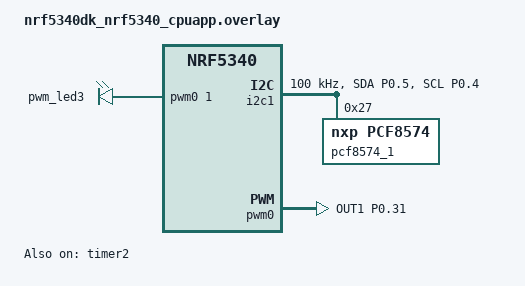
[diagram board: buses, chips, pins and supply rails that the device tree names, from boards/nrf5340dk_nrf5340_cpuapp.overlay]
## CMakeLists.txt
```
#
# Copyright (c) 2020 Nordic Semiconductor ASA
#
# SPDX-License-Identifier: LicenseRef-Nordic-5-Clause
#

cmake_minimum_required(VERSION 3.20.0)

find_package(Zephyr REQUIRED HINTS $ENV{ZEPHYR_BASE})

project("Zigbee generic custom cluster with lcd")

# NORDIC SDK APP START
target_sources(app PRIVATE
  src/main.c
  src/zb_zcl_custom_cluster.c
  src/lcd1602a.c

)

target_include_directories(app PRIVATE include)
# NORDIC SDK APP END
```

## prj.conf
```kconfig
#
# Copyright (c) 2020 Nordic Semiconductor ASA
#
# SPDX-License-Identifier: LicenseRef-Nordic-5-Clause
#

CONFIG_NCS_SAMPLES_DEFAULTS=y

CONFIG_UART_INTERRUPT_DRIVEN=y
CONFIG_SERIAL=y
CONFIG_GPIO=y
CONFIG_PWM=y

# Make sure printk is not printing to the UART console
CONFIG_CONSOLE=y
CONFIG_UART_CONSOLE=y

CONFIG_HEAP_MEM_POOL_SIZE=2048
CONFIG_MAIN_THREAD_PRIORITY=7

CONFIG_ZIGBEE=y
CONFIG_ZIGBEE_APP_UTILS=y
CONFIG_ZIGBEE_ROLE_ROUTER=y

CONFIG_PIPES=y

# Enable DK LED and Buttons library
CONFIG_DK_LIBRARY=y

# This example requires more workqueue stack
CONFIG_SYSTEM_WORKQUEUE_STACK_SIZE=2048

# Enable nRF ECB driver
CONFIG_CRYPTO=y
CONFIG_CRYPTO_NRF_ECB=y
CONFIG_CRYPTO_INIT_PRIORITY=80

# Networking
CONFIG_NET_IPV6=n
CONFIG_NET_IP_ADDR_CHECK=n
CONFIG_NET_UDP=n

# Scene extension
CONFIG_ZIGBEE_SCENES=y

CONFIG_ZIGBEE_CHANNEL=11
# CONFIG_ZIGBEE_CHANNEL=11
```

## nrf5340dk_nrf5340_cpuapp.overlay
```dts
&i2c1 {
	status = "okay";
	compatible = "nordic,nrf-twim";
	label = "I2C_1";
	pinctrl-0 = <&i2c1_default>;
	pinctrl-1 = <&i2c1_sleep>;
	pinctrl-names = "default", "sleep";
	clock-frequency = <100000>;
    pcf8574_1: pcf8574@27 {
                compatible = "nxp,pcf8574";
                reg = <0x27>;
        		ngpios = <8>;
        		#gpio-cells = <2>;
        		gpio-controller;
            };

};

&pinctrl {
	i2c1_default: i2c1_default{
		group1 {
			psels = <NRF_PSEL(TWIM_SDA, 0, 5)>,
				<NRF_PSEL(TWIM_SCL, 0, 4)>;
		};
	};

	i2c1_sleep: i2c1_sleep{
		group1 {
			psels = <NRF_PSEL(TWIM_SDA, 0, 5)>,
				<NRF_PSEL(TWIM_SCL, 0, 4)>;
			low-power-enable;
		};
	};

};
```

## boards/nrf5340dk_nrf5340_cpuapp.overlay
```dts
/*
 * Copyright (c) 2020-2022 Nordic Semiconductor ASA
 *
 * SPDX-License-Identifier: LicenseRef-Nordic-5-Clause
 */

/ {
	pwmleds {
		compatible = "pwm-leds";
		pwm_led3: pwm_led_3 {
			pwms = <&pwm0 1 PWM_MSEC(20) PWM_POLARITY_INVERTED>;
		};
	};

	chosen {
		ncs,zigbee-timer = &timer2;
	};
};

&i2c1 {
	status = "okay";
	compatible = "nordic,nrf-twim";
	label = "I2C_1";
	pinctrl-0 = <&i2c1_default>;
	pinctrl-1 = <&i2c1_sleep>;
	pinctrl-names = "default", "sleep";
	clock-frequency = <100000>;
    pcf8574_1: pcf8574@27 {
                compatible = "nxp,pcf8574";
                reg = <0x27>;
        		ngpios = <8>;
        		#gpio-cells = <2>;
        		gpio-controller;
            };

};


&pwm0 {
	pinctrl-0 = <&pwm0_default_alt>;
	pinctrl-1 = <&pwm0_sleep_alt>;
	pinctrl-names = "default", "sleep";
};

&pinctrl {
	pwm0_default_alt: pwm0_default_alt {
		group1 {
			psels = <NRF_PSEL(PWM_OUT1, 0, 31)>;
			nordic,invert;
		};
	};

	pwm0_sleep_alt: pwm0_sleep_alt {
		group1 {
			psels = <NRF_PSEL(PWM_OUT1, 0, 31)>;
			low-power-enable;
		};
	};

	i2c1_default: i2c1_default{
		group1 {
			psels = <NRF_PSEL(TWIM_SDA, 0, 5)>,
				<NRF_PSEL(TWIM_SCL, 0, 4)>;
		};
	};

	i2c1_sleep: i2c1_sleep{
		group1 {
			psels = <NRF_PSEL(TWIM_SDA, 0, 5)>,
				<NRF_PSEL(TWIM_SCL, 0, 4)>;
			low-power-enable;
		};
	};


};

&timer2 {
	status = "okay";
};
```

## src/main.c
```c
/*
 * Copyright (c) 2020 Nordic Semiconductor ASA
 *
 * SPDX-License-Identifier: LicenseRef-Nordic-5-Clause
 */

/** @file
 *
 * @brief Simple Zigbee light bulb implementation.
 */

#include <zephyr/types.h>
#include <zephyr/kernel.h>
#include <zephyr/device.h>
#include <soc.h>
#include <zephyr/drivers/pwm.h>
#include <zephyr/logging/log.h>
#include <dk_buttons_and_leds.h>
#include <zephyr/settings/settings.h>


#include <zboss_api.h>
#include <zboss_api_addons.h>
#include <zb_mem_config_med.h>
#include <zigbee/zigbee_app_utils.h>
#include <zigbee/zigbee_error_handler.h>
#include <zigbee/zigbee_zcl_scenes.h>
#include <zb_nrf_platform.h>
#include "zb_dimmable_light.h"
#include <zcl/zb_zcl_custom_cluster.h>

#include "lcd1602a.h"
#include <zephyr/drivers/i2c.h>




/* Memoria alienada a 4 bytes -> arch 32 bits. Capacidad buffer: 128 bytes*/
unsigned char __aligned(4) pipe_ring_buffer[128];
struct k_pipe ipc_pipe;

static void lcdTask(void *arg1, void *arg2, void *arg3);
K_THREAD_STACK_DEFINE(lcd_stack_area, 2048);
struct k_thread lcd_thread_data;


#define RUN_STATUS_LED                  DK_LED1
#define RUN_LED_BLINK_INTERVAL          1000

/* Device endpoint, used to receive light controlling commands. */
#define DIMMABLE_LIGHT_ENDPOINT         1

/* Version of the application software (1 byte). */
#define BULB_INIT_BASIC_APP_VERSION     01

/* Version of the implementation of the Zigbee stack (1 byte). */
#define BULB_INIT_BASIC_STACK_VERSION   10

/* Version of the hardware of the device (1 byte). */
#define BULB_INIT_BASIC_HW_VERSION      11

/* Manufacturer name (32 bytes). */
#define BULB_INIT_BASIC_MANUF_NAME      "Nordic"

/* Model number assigned by manufacturer (32-bytes long string). */
#define BULB_INIT_BASIC_MODEL_ID        "Dimable_Light_v0.1"

/* First 8 bytes specify the date of manufacturer of the device
 * in ISO 8601 format (YYYYMMDD). The rest (8 bytes) are manufacturer specific.
 */
#define BULB_INIT_BASIC_DATE_CODE       "20200329"

/* Type of power sources available for the device.
 * For possible values see section 3.2.2.2.8 of ZCL specification.
 */
#define BULB_INIT_BASIC_POWER_SOURCE    ZB_ZCL_BASIC_POWER_SOURCE_DC_SOURCE

/* Describes the physical location of the device (16 bytes).
 * May be modified during commissioning process.
 */
#define BULB_INIT_BASIC_LOCATION_DESC   "Office desk"

/* Describes the type of physical environment.
 * For possible values see section 3.2.2.2.10 of ZCL specification.
 */
#define BULB_INIT_BASIC_PH_ENV          ZB_ZCL_BASIC_ENV_UNSPECIFIED

/* LED indicating that light switch successfully joind Zigbee network. */
#define ZIGBEE_NETWORK_STATE_LED        DK_LED3

/* LED immitaing dimmable light bulb - define for informational
 * purposes only.
 */
#define BULB_LED                        DK_LED4

/* Button used to enter the Bulb into the Identify mode. */
#define IDENTIFY_MODE_BUTTON            DK_BTN4_MSK

/* Use onboard led4 to act as a light bulb.
 * The app.overlay file has this at node label "pwm_led3" in /pwmleds.
 */
#define PWM_DK_LED4_NODE                DT_NODELABEL(pwm_led3)

#if DT_NODE_HAS_STATUS(PWM_DK_LED4_NODE, okay)
static const struct pwm_dt_spec led_pwm = PWM_DT_SPEC_GET(PWM_DK_LED4_NODE);
#else
#error "Choose supported PWM driver"
#endif

/* Led PWM period, calculated for 100 Hz signal - in microseconds. */
#define LED_PWM_PERIOD_US               (USEC_PER_SEC / 100U)

#ifndef ZB_ROUTER_ROLE
#error Define ZB_ROUTER_ROLE to compile router source code.
#endif

/* Button to start Factory Reset */
#define FACTORY_RESET_BUTTON IDENTIFY_MODE_BUTTON

LOG_MODULE_REGISTER(app, LOG_LEVEL_INF);

/* Main application customizable context.
 * Stores all settings and static values.
 */
typedef struct {
	zb_zcl_basic_attrs_ext_t basic_attr;
	zb_zcl_identify_attrs_t identify_attr;
	zb_zcl_scenes_attrs_t scenes_attr;
	zb_zcl_groups_attrs_t groups_attr;
	zb_zcl_on_off_attrs_t on_off_attr;
	zb_zcl_level_control_attrs_t level_control_attr;
	unsigned char comando_attr[20];
} bulb_device_ctx_t;

/* Zigbee device application context storage. */
static bulb_device_ctx_t dev_ctx;

ZB_ZCL_DECLARE_IDENTIFY_ATTRIB_LIST(
	identify_attr_list,
	&dev_ctx.identify_attr.identify_time);

ZB_ZCL_DECLARE_GROUPS_ATTRIB_LIST(
	groups_attr_list,
	&dev_ctx.groups_attr.name_support);

ZB_ZCL_DECLARE_SCENES_ATTRIB_LIST(
	scenes_attr_list,
	&dev_ctx.scenes_attr.scene_count,
	&dev_ctx.scenes_attr.current_scene,
	&dev_ctx.scenes_attr.current_group,
	&dev_ctx.scenes_attr.scene_valid,
	&dev_ctx.scenes_attr.name_support);

ZB_ZCL_DECLARE_BASIC_ATTRIB_LIST_EXT(
	basic_attr_list,
	&dev_ctx.basic_attr.zcl_version,
	&dev_ctx.basic_attr.app_version,
	&dev_ctx.basic_attr.stack_version,
	&dev_ctx.basic_attr.hw_version,
	dev_ctx.basic_attr.mf_name,
	dev_ctx.basic_attr.model_id,
	dev_ctx.basic_attr.date_code,
	&dev_ctx.basic_attr.power_source,
	dev_ctx.basic_attr.location_id,
	&dev_ctx.basic_attr.ph_env,
	dev_ctx.basic_attr.sw_ver);

/* On/Off cluster attributes additions data */
ZB_ZCL_DECLARE_ON_OFF_ATTRIB_LIST(
	on_off_attr_list,
	&dev_ctx.on_off_attr.on_off);

ZB_ZCL_DECLARE_LEVEL_CONTROL_ATTRIB_LIST(
	level_control_attr_list,
	&dev_ctx.level_control_attr.current_level,
	&dev_ctx.level_control_attr.remaining_time);

/* Declare attribute list for Custom cluster (Server). */
ZB_ZCL_DECLARE_CUSTOM_ATTR_CLUSTER_ATTRIB_LIST(
	custom_server_attr_list,
	ZB_ZCL_CUSTOM_CLUSTER_ATTR_U8_DEFAULT_VALUE,
	ZB_ZCL_CUSTOM_CLUSTER_ATTR_S16_DEFAULT_VALUE,
	0,
	ZB_ZCL_CUSTOM_CLUSTER_ATTR_32BITMAP_DEFAULT_VALUE,
	0,
	dev_ctx.comando_attr,
	ZB_ZCL_CUSTOM_CLUSTER_ATTR_UTC_TIME_DEFAULT_VALUE,
	0,
	ZB_ZCL_CUSTOM_CLUSTER_ATTR_BOOL_DEFAULT_VALUE,
	0);

ZB_DECLARE_DIMMABLE_LIGHT_CLUSTER_LIST(
	dimmable_light_clusters,
	basic_attr_list,
	identify_attr_list,
	groups_attr_list,
	scenes_attr_list,
	on_off_attr_list,
	level_control_attr_list,
	custom_server_attr_list);


ZB_DECLARE_DIMMABLE_LIGHT_EP(
	dimmable_light_ep,
	DIMMABLE_LIGHT_ENDPOINT,
	dimmable_light_clusters);

ZBOSS_DECLARE_DEVICE_CTX_1_EP(
	dimmable_light_ctx,
	dimmable_light_ep);

/**@brief Starts identifying the device.
 *
 * @param  bufid  Unused parameter, required by ZBOSS scheduler API.
 */
static void start_identifying(zb_bufid_t bufid)
{
	ZVUNUSED(bufid);

	if (ZB_JOINED()) {
		/* Check if endpoint is in identifying mode,
		 * if not, put desired endpoint in identifying mode.
		 */
		if (dev_ctx.identify_attr.identify_time ==
		    ZB_ZCL_IDENTIFY_IDENTIFY_TIME_DEFAULT_VALUE) {

			zb_ret_t zb_err_code = zb_bdb_finding_binding_target(
				DIMMABLE_LIGHT_ENDPOINT);

			if (zb_err_code == RET_OK) {
				LOG_INF("Enter identify mode");
			} else if (zb_err_code == RET_INVALID_STATE) {
				LOG_WRN("RET_INVALID_STATE - Cannot enter identify mode");
			} else {
				ZB_ERROR_CHECK(zb_err_code);
			}
		} else {
			LOG_INF("Cancel identify mode");
			zb_bdb_finding_binding_target_cancel();
		}
	} else {
		LOG_WRN("Device not in a network - cannot enter identify mode");
	}
}

/**@brief Callback for button events.
 *
 * @param[in]   button_state  Bitmask containing the state of the buttons.
 * @param[in]   has_changed   Bitmask containing buttons that have changed their state.
 */
static void button_changed(uint32_t button_state, uint32_t has_changed)
{
	if (IDENTIFY_MODE_BUTTON & has_changed) {
		if (IDENTIFY_MODE_BUTTON & button_state) {
			/* Button changed its state to pressed */
		} else {
			/* Button changed its state to released */
			if (was_factory_reset_done()) {
				/* The long press was for Factory Reset */
				LOG_DBG("After Factory Reset - ignore button release");
			} else   {
				/* Button released before Factory Reset */

				/* Start identification mode */
				ZB_SCHEDULE_APP_CALLBACK(start_identifying, 0);
			}
		}
	}

	check_factory_reset_button(button_state, has_changed);
}

/**@brief Function for initializing additional PWM leds. */
static void pwm_led_init(void)
{
	if (!device_is_ready(led_pwm.dev)) {
		LOG_ERR("Error: PWM device %s is not ready",
			led_pwm.dev->name);
	}
}

/**@brief Function for initializing LEDs and Buttons. */
static void configure_gpio(void)
{
	int err;

	err = dk_buttons_init(button_changed);
	if (err) {
		LOG_ERR("Cannot init buttons (err: %d)", err);
	}

	err = dk_leds_init();
	if (err) {
		LOG_ERR("Cannot init LEDs (err: %d)", err);
	}

	pwm_led_init();
}

/**@brief Sets brightness of bulb luminous executive element
 *
 * @param[in] brightness_level Brightness level, allowed values 0 ... 255,
 *                             0 - turn off, 255 - full brightness.
 */
static void light_bulb_set_brightness(zb_uint8_t brightness_level)
{
	uint32_t pulse = brightness_level * LED_PWM_PERIOD_US / 255U;

	if (pwm_set_dt(&led_pwm, PWM_USEC(LED_PWM_PERIOD_US), PWM_USEC(pulse))) {
		LOG_ERR("Pwm led 4 set fails:\n");
		return;
	}
}

/**@brief Function for setting the light bulb brightness.
 *
 * @param[in] new_level   Light bulb brightness value.
 */
static void level_control_set_value(zb_uint16_t new_level)
{
	LOG_INF("Set level value: %i", new_level);

	ZB_ZCL_SET_ATTRIBUTE(
		DIMMABLE_LIGHT_ENDPOINT,
		ZB_ZCL_CLUSTER_ID_LEVEL_CONTROL,
		ZB_ZCL_CLUSTER_SERVER_ROLE,
		ZB_ZCL_ATTR_LEVEL_CONTROL_CURRENT_LEVEL_ID,
		(zb_uint8_t *)&new_level,
		ZB_FALSE);

	light_bulb_set_brightness(new_level);
}

/**@brief Function for turning ON/OFF the light bulb.
 *
 * @param[in]   on   Boolean light bulb state.
 */
static void on_off_set_value(zb_bool_t on)
{
	LOG_INF("Set ON/OFF value: %i", on);

	ZB_ZCL_SET_ATTRIBUTE(
		DIMMABLE_LIGHT_ENDPOINT,
		ZB_ZCL_CLUSTER_ID_ON_OFF,
		ZB_ZCL_CLUSTER_SERVER_ROLE,
		ZB_ZCL_ATTR_ON_OFF_ON_OFF_ID,
		(zb_uint8_t *)&on,
		ZB_FALSE);

	if (on) {
		light_bulb_set_brightness(dev_ctx.level_control_attr.current_level);
	} else {
		light_bulb_set_brightness(0U);
	}
}

/**@brief Function to toggle the identify LED - BULB_LED is used for this.
 *
 * @param  bufid  Unused parameter, required by ZBOSS scheduler API.
 */
static void toggle_identify_led(zb_bufid_t bufid)
{
	static int blink_status;

	light_bulb_set_brightness(((++blink_status) % 2) ? (255U) : (0U));
	ZB_SCHEDULE_APP_ALARM(toggle_identify_led, bufid, ZB_MILLISECONDS_TO_BEACON_INTERVAL(100));
}

/**@brief Function to handle identify notification events on the first endpoint.
 *
 * @param  bufid  Unused parameter, required by ZBOSS scheduler API.
 */
static void identify_cb(zb_bufid_t bufid)
{
	zb_ret_t zb_err_code;

	if (bufid) {
		/* Schedule a self-scheduling function that will toggle the LED. */
		ZB_SCHEDULE_APP_CALLBACK(toggle_identify_led, bufid);
	} else {
		/* Cancel the toggling function alarm and restore current Zigbee LED state. */
		zb_err_code = ZB_SCHEDULE_APP_ALARM_CANCEL(toggle_identify_led, ZB_ALARM_ANY_PARAM);
		ZVUNUSED(zb_err_code);

		if (dev_ctx.on_off_attr.on_off) {
			light_bulb_set_brightness(dev_ctx.level_control_attr.current_level);
		} else {
			light_bulb_set_brightness(0U);
		}
	}
}

/**@brief Function for initializing all clusters attributes.
 */
static void bulb_clusters_attr_init(void)
{
	/* Basic cluster attributes data */
	dev_ctx.basic_attr.zcl_version = ZB_ZCL_VERSION;
	dev_ctx.basic_attr.app_version = BULB_INIT_BASIC_APP_VERSION;
	dev_ctx.basic_attr.stack_version = BULB_INIT_BASIC_STACK_VERSION;
	dev_ctx.basic_attr.hw_version = BULB_INIT_BASIC_HW_VERSION;

	/* Use ZB_ZCL_SET_STRING_VAL to set strings, because the first byte
	 * should contain string length without trailing zero.
	 *
	 * For example "test" string will be encoded as:
	 *   [(0x4), 't', 'e', 's', 't']
	 */
	ZB_ZCL_SET_STRING_VAL(
		dev_ctx.basic_attr.mf_name,
		BULB_INIT_BASIC_MANUF_NAME,
		ZB_ZCL_STRING_CONST_SIZE(BULB_INIT_BASIC_MANUF_NAME));

	ZB_ZCL_SET_STRING_VAL(
		dev_ctx.basic_attr.model_id,
		BULB_INIT_BASIC_MODEL_ID,
		ZB_ZCL_STRING_CONST_SIZE(BULB_INIT_BASIC_MODEL_ID));

	ZB_ZCL_SET_STRING_VAL(
		dev_ctx.basic_attr.date_code,
		BULB_INIT_BASIC_DATE_CODE,
		ZB_ZCL_STRING_CONST_SIZE(BULB_INIT_BASIC_DATE_CODE));

	dev_ctx.basic_attr.power_source = BULB_INIT_BASIC_POWER_SOURCE;

	ZB_ZCL_SET_STRING_VAL(
		dev_ctx.basic_attr.location_id,
		BULB_INIT_BASIC_LOCATION_DESC,
		ZB_ZCL_STRING_CONST_SIZE(BULB_INIT_BASIC_LOCATION_DESC));

	dev_ctx.basic_attr.ph_env = BULB_INIT_BASIC_PH_ENV;

	/* Identify cluster attributes data. */
	dev_ctx.identify_attr.identify_time =
		ZB_ZCL_IDENTIFY_IDENTIFY_TIME_DEFAULT_VALUE;

	/* On/Off cluster attributes data. */
	dev_ctx.on_off_attr.on_off = (zb_bool_t)ZB_ZCL_ON_OFF_IS_ON;

	dev_ctx.level_control_attr.current_level =
		ZB_ZCL_LEVEL_CONTROL_LEVEL_MAX_VALUE;
	dev_ctx.level_control_attr.remaining_time =
		ZB_ZCL_LEVEL_CONTROL_REMAINING_TIME_DEFAULT_VALUE;

	ZB_ZCL_SET_ATTRIBUTE(
		DIMMABLE_LIGHT_ENDPOINT,
		ZB_ZCL_CLUSTER_ID_ON_OFF,
		ZB_ZCL_CLUSTER_SERVER_ROLE,
		ZB_ZCL_ATTR_ON_OFF_ON_OFF_ID,
		(zb_uint8_t *)&dev_ctx.on_off_attr.on_off,
		ZB_FALSE);

	ZB_ZCL_SET_ATTRIBUTE(
		DIMMABLE_LIGHT_ENDPOINT,
		ZB_ZCL_CLUSTER_ID_LEVEL_CONTROL,
		ZB_ZCL_CLUSTER_SERVER_ROLE,
		ZB_ZCL_ATTR_LEVEL_CONTROL_CURRENT_LEVEL_ID,
		(zb_uint8_t *)&dev_ctx.level_control_attr.current_level,
		ZB_FALSE);

	
	ZB_ZCL_SET_ATTRIBUTE(
		DIMMABLE_LIGHT_ENDPOINT,
		ZB_ZCL_CLUSTER_ID_CUSTOM,
		ZB_ZCL_CLUSTER_SERVER_ROLE,
		ZB_ZCL_CUSTOM_CLUSTER_ATTR_CHAR_STRING_ID,
		NULL,
		ZB_FALSE);
}

/**@brief Callback function for handling ZCL commands.
 *
 * @param[in]   bufid   Reference to Zigbee stack buffer
 *                      used to pass received data.
 */
static void zcl_device_cb(zb_bufid_t bufid)
{
	zb_uint8_t cluster_id;
	zb_uint8_t attr_id;
	zb_zcl_device_callback_param_t  *device_cb_param =
		ZB_BUF_GET_PARAM(bufid, zb_zcl_device_callback_param_t);

	LOG_INF("%s id %hd", device_cb_param->device_cb_id);

	/* Set default response value. */
	device_cb_param->status = RET_OK;

	switch (device_cb_param->device_cb_id) {
	case ZB_ZCL_LEVEL_CONTROL_SET_VALUE_CB_ID:
		LOG_INF("Level control setting to %d",
			device_cb_param->cb_param.level_control_set_value_param
			.new_value);
		level_control_set_value(
			device_cb_param->cb_param.level_control_set_value_param
			.new_value);
		break;

	case ZB_ZCL_SET_ATTR_VALUE_CB_ID:
		cluster_id = device_cb_param->cb_param.
			     set_attr_value_param.cluster_id;
		attr_id = device_cb_param->cb_param.
			  set_attr_value_param.attr_id;

		if (cluster_id == ZB_ZCL_CLUSTER_ID_ON_OFF) {
			uint8_t value =
				device_cb_param->cb_param.set_attr_value_param
				.values.data8;

			LOG_INF("on/off attribute setting to %hd", value);
			if (attr_id == ZB_ZCL_ATTR_ON_OFF_ON_OFF_ID) {
				on_off_set_value((zb_bool_t)value);
			}
		} else if (cluster_id == ZB_ZCL_CLUSTER_ID_LEVEL_CONTROL) {
			uint16_t value = device_cb_param->cb_param.
					 set_attr_value_param.values.data16;

			LOG_INF("level control attribute setting to %hd",
				value);
			if (attr_id ==
			    ZB_ZCL_ATTR_LEVEL_CONTROL_CURRENT_LEVEL_ID) {
				level_control_set_value(value);
			}
		} else if (cluster_id == ZB_ZCL_CLUSTER_ID_CUSTOM){
			zb_char_t value = device_cb_param->cb_param.
						set_attr_value_param.values.data16;

			LOG_INF("Set ON/OFF value: %c", value);

			ZB_ZCL_SET_ATTRIBUTE(
				DIMMABLE_LIGHT_ENDPOINT,
				ZB_ZCL_CLUSTER_ID_CUSTOM,
				NULL,
				ZB_ZCL_CUSTOM_CLUSTER_ATTR_CHAR_STRING_ID,
				(zb_char_t *)&value,
				ZB_FALSE);

		}else {
			/* Other clusters can be processed here */
			LOG_INF("Unhandled cluster attribute id: %d",
				cluster_id);
			device_cb_param->status = RET_NOT_IMPLEMENTED;
		}
		break;

	default:
		if (zcl_scenes_cb(bufid) == ZB_FALSE) {
			device_cb_param->status = RET_NOT_IMPLEMENTED;
		}
		break;
	}

	LOG_INF("%s status: %hd", __func__, device_cb_param->status);
}

/**@brief Zigbee stack event handler.
 *
 * @param[in]   bufid   Reference to the Zigbee stack buffer
 *                      used to pass signal.
 */
void zboss_signal_handler(zb_bufid_t bufid)
{
	/* Update network status LED. */
	zigbee_led_status_update(bufid, ZIGBEE_NETWORK_STATE_LED);

	/* No application-specific behavior is required.
	 * Call default signal handler.
	 */
	ZB_ERROR_CHECK(zigbee_default_signal_handler(bufid));

	/* All callbacks should either reuse or free passed buffers.
	 * If bufid == 0, the buffer is invalid (not passed).
	 */
	if (bufid) {
		zb_buf_free(bufid);
	}
}

zb_device_handler_t test_handler(zb_uint8_t param){
	
	char *str;
	uint16_t bytes_written = 0;
	int rc;

	LOG_INF("MANEJADOR");
	zb_zcl_write_attr_req_t *write_attr_req;

	zb_bufid_t zcl_cmd_buf = param;
	
	zb_zcl_parsed_hdr_t *cmd_info = ZB_BUF_GET_PARAM(zcl_cmd_buf, zb_zcl_parsed_hdr_t);
	
	
	LOG_INF("Cluster id: %hx", cmd_info->cluster_id);
	LOG_INF("CMD id: %hx", cmd_info->cmd_id);

	
	
	zb_uint8_t len = zb_buf_len(zcl_cmd_buf);
	zb_uint8_t *pin_payload = (zb_uint8_t*) zb_buf_begin(zcl_cmd_buf);


	if(cmd_info->cmd_id == 2){ //Peticion de escritura
		do{
			ZB_ZCL_GENERAL_GET_NEXT_WRITE_ATTR_REQ(pin_payload, len, write_attr_req);

			
			if(write_attr_req){
				LOG_INF("Atributte id: %s", write_attr_req->attr_value);
				str = write_attr_req->attr_value;
				ZB_ZCL_STRING_TO_C_STRING(str);
				LOG_INF("Buffer enviado id: %s, longitud: %hd.", str, strlen(str));

				ZB_ZCL_SET_ATTRIBUTE(
					DIMMABLE_LIGHT_ENDPOINT,
					cmd_info->cluster_id,
					ZB_ZCL_CLUSTER_SERVER_ROLE,
					write_attr_req->attr_id,
					str,
					ZB_FALSE);


				uint8_t ndatos = strlen(str);
				rc = k_pipe_put(
					&ipc_pipe,
					(void *) &ndatos,
					sizeof(uint8_t),
					&bytes_written,
					sizeof(uint8_t),
					K_NO_WAIT
				);
				rc =  k_pipe_put(&ipc_pipe, // pipe destino
					(void *)str, // ptero a datos
					strlen(str), // # datos a escribir
					&bytes_written, // # datos copiados (una vez la fx ha terminado)
					1, // min bytes to write
					K_NO_WAIT); 
				
				if(rc < 0) {
					LOG_INF("No se ha enviado nada");
				}
				else{
					LOG_INF("Se ha enviado algo %hd", bytes_written);
				}
				
		}
		// TODO: Aqui k_pipe_put??

		}while(write_attr_req);
	}


	return ZB_TRUE;
}


int main(void)
{
	int blink_status = 0;
	int err;

	LOG_INF("Starting ZBOSS Light Bulb example");

	/* Initialize */
	configure_gpio();
	err = settings_subsys_init();
	if (err) {
		LOG_ERR("settings initialization failed");
	}
	register_factory_reset_button(FACTORY_RESET_BUTTON);

	/* Register callback for handling ZCL commands. */
	ZB_ZCL_REGISTER_DEVICE_CB(zcl_device_cb);

	/* Register dimmer switch device context (endpoints). */
	ZB_AF_REGISTER_DEVICE_CTX(&dimmable_light_ctx);

	ZB_AF_SET_ENDPOINT_HANDLER(DIMMABLE_LIGHT_ENDPOINT, &test_handler); 

	bulb_clusters_attr_init();
	level_control_set_value(dev_ctx.level_control_attr.current_level);

	/* Register handler to identify notifications. */
	ZB_AF_SET_IDENTIFY_NOTIFICATION_HANDLER(DIMMABLE_LIGHT_ENDPOINT, identify_cb);

	/* Initialize ZCL scene table */
	zcl_scenes_init();

	/* Settings should be loaded after zcl_scenes_init */
	err = settings_load();
	if (err) {
		LOG_ERR("settings loading failed");
	}

	/* Start Zigbee default thread */
	zigbee_enable();

	LOG_INF("ZBOSS Light Bulb example started");

	/* Pipe initialization */ 
	k_pipe_init(&ipc_pipe, pipe_ring_buffer, sizeof(pipe_ring_buffer));
	/* thread (task) initialization */
	(void) k_thread_create(&lcd_thread_data,
			lcd_stack_area,
			K_THREAD_STACK_SIZEOF(lcd_stack_area),
			lcdTask,
			NULL, NULL, NULL,
			-1, // cooperative prio
			0, // no args
			K_NO_WAIT);
 
	while (1) {
		dk_set_led(RUN_STATUS_LED, (++blink_status) % 2);
		k_sleep(K_MSEC(RUN_LED_BLINK_INTERVAL));
	}
}


static void lcdTask(void *arg1, void *arg2, void *arg3)
{

	const struct device *i2c_dev;

	i2c_dev = device_get_binding("I2C_1");
    if (!i2c_dev) {
        printk("Binding failed.");
        return;
    }
    i2c_configure(i2c_dev, I2C_SPEED_SET(I2C_SPEED_STANDARD));

	// assert I2C activo
	// Ojo pues i2c_dev es global
	pcf857_LCDinit(i2c_dev);
	pcf857_Clear(i2c_dev);
	pcf857_LCDGOTO(i2c_dev);
	

	while(1)
	{
		unsigned char buffer[100];
		size_t bytes_read = 0;

		uint8_t ndatos;
		k_pipe_get(&ipc_pipe,
			&ndatos,
			sizeof(ndatos),
			&bytes_read,
			sizeof(ndatos), // min bytes para leer. OJO!!
			K_FOREVER);

		k_pipe_get(&ipc_pipe,
			buffer,
			ndatos,
			&bytes_read,
			1, // min bytes para leer. OJO!!
			K_FOREVER);
		// TODO: '\n' a buffer si no lo trae
		LOG_INF("Buffer recibido id: %s, leidos: %hd, longitud: %hd", buffer, bytes_read, strlen(buffer));
		for(int i = bytes_read; i < strlen(buffer); i++){
			buffer[i] = NULL;
		}
		sendString(i2c_dev, buffer);
		k_msleep(4000);
		pcf857_Clear(i2c_dev);
		pcf857_LCDGOTO(i2c_dev);
	}
}
```

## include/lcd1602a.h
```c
#ifndef __LCD_1602A__
#define __LCD_1602A__

#include <zephyr/device.h>

void sendCMD(const struct device *dev, unsigned char cmd);
void sendData(const struct device *dev, unsigned char data);
void sendString(const struct device * dev, char *str);
void pcf857_LCDinit(const struct device * dev);
void pcf857_Clear(const struct device *dev);
void pcf857_LCDGOTO(const struct device * dev);

#endif
```

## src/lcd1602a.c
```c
#include "lcd1602a.h"
#include <zephyr/devicetree.h>
#include <zephyr/drivers/gpio.h>
#include <stdio.h>
#include <string.h>
#include <stdlib.h>
#include <zephyr/drivers/i2c.h>
#include <zephyr/kernel.h>

uint8_t _LCDBackLight = 0x0F;


void sendCMD(const struct device * dev, unsigned char cmd){
    int error;

    // I2C MASK Byte = COMD-led-en-rw-rs (en=enable rs = reg select)(rw always write)
	const uint8_t LCDCmdByteOn = 0x0C;  // enable=1 and rs =0 1100 COMD-led-en-rw-rs 
	const uint8_t LCDCmdByteOff = 0x08; // enable=0 and rs =0 1000 COMD-led-en-rw-rs 
	
	unsigned char cmdNibbleLower, cmdNibbleUpper;
	uint8_t cmdBufferI2C[4];
	uint8_t I2CReturnCode = 0;
	
	cmdNibbleLower = (cmd << 4)&0xf0; //select lower nibble by moving it to the upper nibble position
	cmdNibbleUpper = cmd & 0xf0; //select upper nibble
	cmdBufferI2C[0] = cmdNibbleUpper | (LCDCmdByteOn & _LCDBackLight); // YYYY-1100 YYYY-led-en-rw-rs ,enable=1 and rs =0
	cmdBufferI2C[1] = cmdNibbleUpper | (LCDCmdByteOff & _LCDBackLight); // YYYY-1000 YYYY-led-en-rw-rs ,enable=0 and rs =0
	cmdBufferI2C[2] = cmdNibbleLower | (LCDCmdByteOn & _LCDBackLight); // YYYY-1100 YYYY-led-en-rw-rs ,enable=1 and rs =0
	cmdBufferI2C[3] = cmdNibbleLower | (LCDCmdByteOff & _LCDBackLight); // YYYY-1000 YYYY-led-en-rw-rs ,enable=0 and rs =0
	
	error = i2c_write(dev, cmdBufferI2C, sizeof(cmdBufferI2C), 0x27);
    if (error == 0) {
    }
    else {
        printk("error %d \n", error);
    }

}

void sendData(const struct device * dev, unsigned char data){
    int error;
    const uint8_t LCDDataByteOn= 0x0D; //enable=1 and rs =1 1101  DATA-led-en-rw-rs
    const  uint8_t LCDDataByteOff = 0x09; // enable=0 and rs =1 1001 DATA-led-en-rw-rs
    
    unsigned char dataNibbleLower, dataNibbleUpper;
    uint8_t dataBufferI2C[4];
    uint8_t I2CReturnCode = 0;

	dataNibbleLower = (data << 4)&0xf0; //select lower nibble by moving it to the upper nibble position
	dataNibbleUpper = data & 0xf0; //select upper nibble
	dataBufferI2C[0] = dataNibbleUpper | (LCDDataByteOn & _LCDBackLight); //enable=1 and rs =1 1101  YYYY-X-en-X-rs
	dataBufferI2C[1] = dataNibbleUpper | (LCDDataByteOff & _LCDBackLight); //enable=0 and rs =1 1001 YYYY-X-en-X-rs
	dataBufferI2C[2] = dataNibbleLower | (LCDDataByteOn & _LCDBackLight); //enable=1 and rs =1 1101  YYYY-X-en-X-rs
	dataBufferI2C[3] = dataNibbleLower | (LCDDataByteOff &  _LCDBackLight); //enable=0 and rs =1 1001 YYYY-X-en-X-rs

    error = i2c_write(dev, dataBufferI2C, sizeof(dataBufferI2C), 0x27);
    if (error == 0) {
    }
    else {
        printk("error %d \n", error);
    }

}

void sendString(const struct device * dev, char *str){
    while (*str) sendData(dev,*str++);
}

void pcf857_LCDinit(const struct device * dev){
    struct i2c_msg msgs[6];
    uint8_t HomePosition = 0x02;
    int error;

    for(int i = 0; i < 3; i++){
        
        printk("HomePosition: %d\n", i);
        sendCMD(dev, HomePosition);
    }

    uint8_t LCDModeFourBit = 0x28;

    printk("LCDModeFourBit\n");
        
    sendCMD(dev, LCDModeFourBit);

    uint8_t LCDDisplayOn = 0x0C;

    printk("LCDDisplayOn\n");

    sendCMD(dev, LCDDisplayOn);


    uint8_t LCDCursorTypeOn = 0X0E;    

    printk("LCDCursorTypeOn\n");

    sendCMD(dev, LCDCursorTypeOn);
        
    uint8_t LCDEntryModeThree = 0X06;    
    
    printk("LCDEntryModeThree\n");

    sendCMD(dev, LCDEntryModeThree);

    
    uint8_t LCDClearScreen = 0X01;    

   sendCMD(dev, LCDClearScreen);

}

void pcf857_Clear(const struct device * dev){
    int error;
    uint8_t LCDClearScreen = 0X01;

    printk("LCDLineAddressTwo\n");

   sendCMD(dev, LCDClearScreen);

}

void pcf857_LCDGOTO(const struct device * dev){
    int error;
    uint8_t LCDLineAddressOne= 0x80 | 0;

    printk("LCDLineAddressOne\n");
   
   sendCMD(dev, LCDLineAddressOne);

}
```
